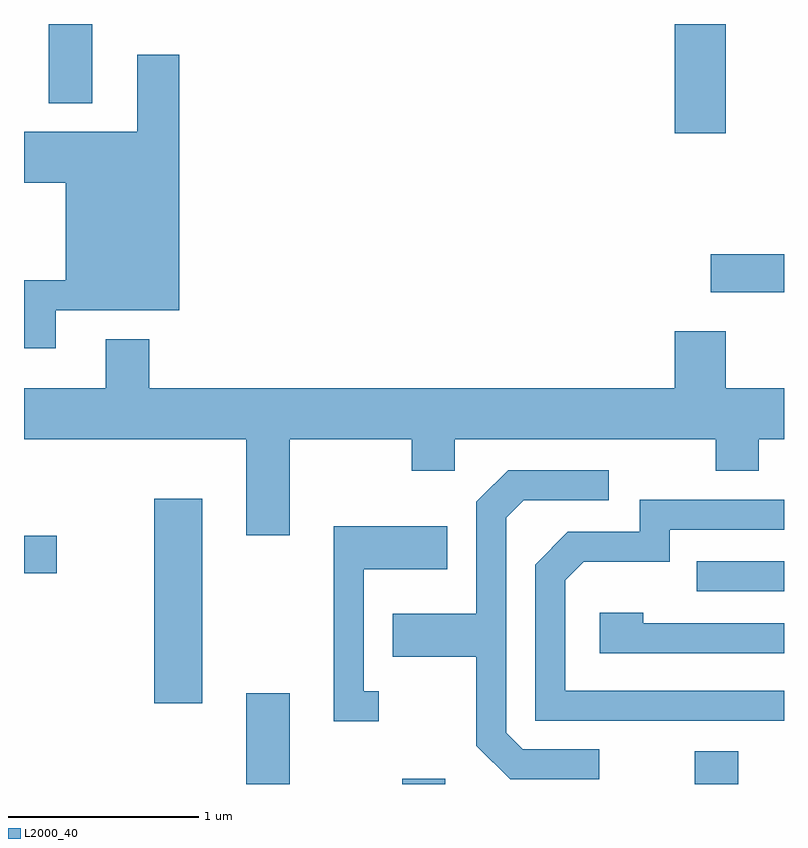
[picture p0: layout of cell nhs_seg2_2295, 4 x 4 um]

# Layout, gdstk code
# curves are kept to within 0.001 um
import gdstk
lib = gdstk.Library(unit=1e-6, precision=1e-09)
def R(c, l, rs):  # rectangles x0, y0, x1, y1
    for r in rs: c.add(gdstk.rectangle(r[:2], r[2:], *l))
def P(c, l, *ps):  # polygons
    for p in ps: c.add(gdstk.Polygon(p, *l))
L2000_40 = (2000, 40)

nhs_seg2_2295 = lib.new_cell('nhs_seg2_2295')
R(nhs_seg2_2295, L2000_40, [(252.781,1079.802,253.009,1080.279), (253.601,1079.802,253.829,1079.829), (255.141,1079.802,255.369,1079.974), (252.296,1080.226,252.549,1081.304), (255.153,1080.816,255.611,1080.974), (251.611,1080.911,251.784,1081.109), (255.226,1082.391,255.611,1082.589), (255.036,1083.226,255.304,1083.802), (251.741,1083.386,251.969,1083.802)])
P(nhs_seg2_2295, L2000_40, [(251.779,1082.296),(252.429,1082.296),(252.429,1083.639),(252.206,1083.639),(252.206,1083.234),(251.611,1083.234),(251.611,1082.966),(251.831,1082.966),(251.831,1082.454),(251.611,1082.454),(251.611,1082.096),(251.779,1082.096)],
  [(253.009,1081.616),(253.651,1081.616),(253.651,1081.451),(253.879,1081.451),(253.879,1081.616),(255.251,1081.616),(255.251,1081.451),(255.479,1081.451),(255.479,1081.616),(255.611,1081.616),(255.611,1081.884),(255.304,1081.884),(255.304,1082.184),(255.036,1082.184),(255.036,1081.884),(252.269,1081.884),(252.269,1082.144),(252.041,1082.144),(252.041,1081.884),(251.611,1081.884),(251.611,1081.616),(252.781,1081.616),(252.781,1081.111),(253.009,1081.111)],
  [(254.638,1079.984),(254.237,1079.984),(254.149,1080.072),(254.149,1081.204),(254.242,1081.296),(254.688,1081.296),(254.688,1081.454),(254.159,1081.454),(253.991,1081.287),(253.991,1080.699),(253.551,1080.699),(253.551,1080.471),(253.991,1080.471),(253.991,1080.004),(254.169,1079.826),(254.638,1079.826)],
  [(255.611,1080.294),(254.459,1080.294),(254.459,1080.874),(254.557,1080.971),(255.009,1080.971),(255.009,1081.141),(255.611,1081.141),(255.611,1081.299),(254.851,1081.299),(254.851,1081.129),(254.474,1081.129),(254.301,1080.957),(254.301,1080.136),(255.611,1080.136)],
  [(253.478,1080.289),(253.399,1080.289),(253.399,1080.931),(253.839,1080.931),(253.839,1081.159),(253.241,1081.159),(253.241,1080.131),(253.478,1080.131)],
  [(255.611,1080.649),(254.869,1080.649),(254.869,1080.704),(254.641,1080.704),(254.641,1080.491),(255.611,1080.491)])

lib.write_gds('nhs_seg2_2295.gds')
